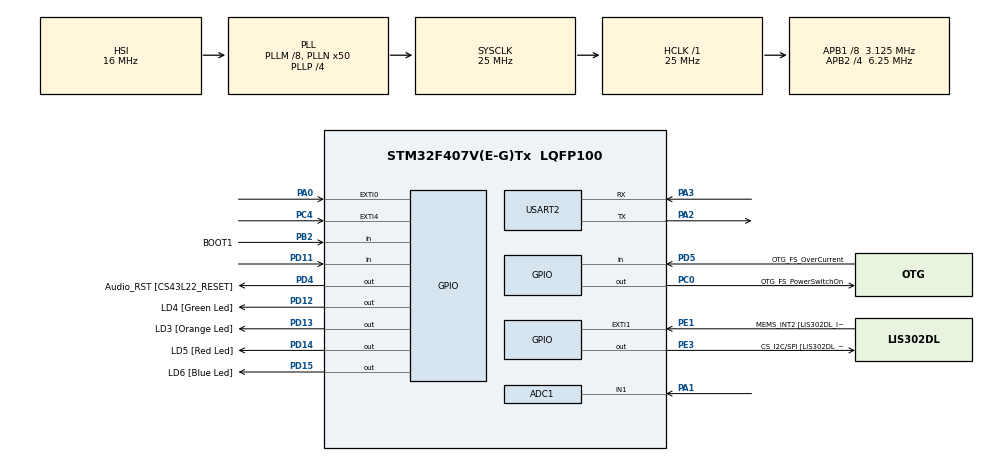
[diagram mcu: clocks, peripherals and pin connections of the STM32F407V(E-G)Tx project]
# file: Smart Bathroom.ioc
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ADC1.Channel-9\#ChannelRegularConversion=ADC_CHANNEL_1
ADC1.NbrOfConversionFlag=1
ADC1.Rank-9\#ChannelRegularConversion=1
ADC1.SamplingTime-9\#ChannelRegularConversion=ADC_SAMPLETIME_3CYCLES
ADC1.master=1
Mcu.Family=STM32F4
Mcu.Name=STM32F407V(E-G)Tx
Mcu.Package=LQFP100
NVIC.EXTI4_IRQn=true\:0\:0\:false\:false\:true\:true
NVIC.PriorityGroup=NVIC_PRIORITYGROUP_4
PA0-WKUP.Signal=GPXTI0
PA1.Signal=ADCx_IN1
PA10.GPIO_Label=OTG_FS_ID
PA10.GPIO_Mode=GPIO_MODE_AF_PP
PA10.GPIO_PuPd=GPIO_NOPULL
PA10.GPIO_Speed=GPIO_SPEED_FREQ_LOW
PA10.Signal=USB_OTG_FS_ID
PA11.GPIO_Label=OTG_FS_DM
PA11.GPIO_Mode=GPIO_MODE_AF_PP
PA11.GPIO_PuPd=GPIO_NOPULL
PA11.GPIO_Speed=GPIO_SPEED_FREQ_LOW
PA11.Signal=USB_OTG_FS_DM
PA12.GPIO_Label=OTG_FS_DP
PA12.GPIO_Mode=GPIO_MODE_AF_PP
PA12.GPIO_PuPd=GPIO_NOPULL
PA12.GPIO_Speed=GPIO_SPEED_FREQ_LOW
PA12.Signal=USB_OTG_FS_DP
PA13.GPIO_Label=SWDIO
PA13.Signal=SYS_JTMS-SWDIO
PA14.GPIO_Label=SWCLK
PA14.Signal=SYS_JTCK-SWCLK
PA2.Mode=Asynchronous
PA2.Signal=USART2_TX
PA3.Mode=Asynchronous
PA3.Signal=USART2_RX
PA6.GPIO_Label=SPI1_MISO [LIS302DL_SDO]
PA6.GPIO_Mode=GPIO_MODE_AF_PP
PA6.GPIO_PuPd=GPIO_NOPULL
PA6.GPIO_Speed=GPIO_SPEED_FREQ_LOW
PA6.Signal=SPI1_MISO
PA7.GPIO_Label=SPI1_MOSI [LIS302DL_SDA/SDI/SDO]
PA7.GPIO_Mode=GPIO_MODE_AF_PP
PA7.GPIO_PuPd=GPIO_NOPULL
PA7.GPIO_Speed=GPIO_SPEED_FREQ_LOW
PA7.Signal=SPI1_MOSI
PA9.GPIO_Label=VBUS_FS
PA9.GPIO_Mode=GPIO_MODE_INPUT
PA9.GPIO_PuPd=GPIO_NOPULL
PA9.Signal=USB_OTG_FS_VBUS
PB10.GPIO_Label=CLK_IN [MP45DT02_CLK]
PB10.GPIO_Mode=GPIO_MODE_AF_PP
PB10.GPIO_PuPd=GPIO_NOPULL
PB10.GPIO_Speed=GPIO_SPEED_FREQ_LOW
PB10.Signal=I2S2_CK
PB2.GPIO_Label=BOOT1
PB2.GPIO_Mode=GPIO_MODE_INPUT
PB2.GPIO_PuPd=GPIO_NOPULL
PB2.Signal=GPIO_Input
PB3.GPIO_Label=SWO
PB3.Signal=SYS_JTDO-SWO
PB6.GPIO_Label=Audio_SCL [CS43L22_SCL]
PB6.GPIO_Mode=GPIO_MODE_AF_OD
PB6.GPIO_PuPd=GPIO_NOPULL
PB6.GPIO_Speed=GPIO_SPEED_FREQ_LOW
PB6.Signal=I2C1_SCL
PB9.GPIO_Label=Audio_SDA [CS43L22_SDA]
PB9.GPIO_Mode=GPIO_MODE_AF_OD
PB9.GPIO_PuPd=GPIO_NOPULL
PB9.GPIO_Speed=GPIO_SPEED_FREQ_LOW
PB9.Signal=I2C1_SDA
PC0.GPIO_Label=OTG_FS_PowerSwitchOn
PC0.GPIO_PuPd=GPIO_NOPULL
PC0.GPIO_Speed=GPIO_SPEED_FREQ_LOW
PC0.PinState=GPIO_PIN_SET
PC0.Signal=GPIO_Output
PC10.GPIO_Label=I2S3_SCK [CS43L22_SCLK]
PC10.GPIO_Mode=GPIO_MODE_AF_PP
PC10.GPIO_PuPd=GPIO_NOPULL
PC10.GPIO_Speed=GPIO_SPEED_FREQ_LOW
PC10.Signal=I2S3_CK
PC12.GPIO_Label=I2S3_SD [CS43L22_SDIN]
PC12.GPIO_Mode=GPIO_MODE_AF_PP
PC12.GPIO_PuPd=GPIO_NOPULL
PC12.GPIO_Speed=GPIO_SPEED_FREQ_LOW
PC12.Signal=I2S3_SD
PC14-OSC32_IN.GPIO_Label=PC14-OSC32_IN
PC14-OSC32_IN.Signal=RCC_OSC32_IN
PC15-OSC32_OUT.GPIO_Label=PC15-OSC32_OUT
PC15-OSC32_OUT.Signal=RCC_OSC32_OUT
PC3.GPIO_Label=PDM_OUT [MP45DT02_DOUT]
PC3.GPIO_Mode=GPIO_MODE_AF_PP
PC3.GPIO_PuPd=GPIO_NOPULL
PC3.GPIO_Speed=GPIO_SPEED_FREQ_LOW
PC3.Signal=I2S2_SD
PC4.Signal=GPXTI4
PC7.GPIO_Label=I2S3_MCK [CS43L22_MCLK]
PC7.GPIO_Mode=GPIO_MODE_AF_PP
PC7.GPIO_PuPd=GPIO_NOPULL
PC7.GPIO_Speed=GPIO_SPEED_FREQ_LOW
PC7.Signal=I2S3_MCK
PD11.Signal=GPIO_Input
PD12.GPIO_Label=LD4 [Green Led]
PD12.GPIO_PuPd=GPIO_NOPULL
PD12.GPIO_Speed=GPIO_SPEED_FREQ_LOW
PD12.Signal=GPIO_Output
PD13.GPIO_Label=LD3 [Orange Led]
PD13.GPIO_PuPd=GPIO_NOPULL
PD13.GPIO_Speed=GPIO_SPEED_FREQ_LOW
PD13.Signal=GPIO_Output
PD14.GPIO_Label=LD5 [Red Led]
PD14.GPIO_PuPd=GPIO_NOPULL
PD14.GPIO_Speed=GPIO_SPEED_FREQ_LOW
PD14.Signal=GPIO_Output
PD15.GPIO_Label=LD6 [Blue Led]
PD15.GPIO_PuPd=GPIO_NOPULL
PD15.GPIO_Speed=GPIO_SPEED_FREQ_LOW
PD15.Signal=GPIO_Output
PD4.GPIO_Label=Audio_RST [CS43L22_RESET]
PD4.GPIO_PuPd=GPIO_NOPULL
PD4.GPIO_Speed=GPIO_SPEED_FREQ_LOW
PD4.Signal=GPIO_Output
PD5.GPIO_Label=OTG_FS_OverCurrent
PD5.GPIO_Mode=GPIO_MODE_INPUT
PD5.GPIO_PuPd=GPIO_NOPULL
PD5.Signal=GPIO_Input
PE1.GPIO_Label=MEMS_INT2 [LIS302DL_INT2]
PE1.GPIO_ModeDefaultEXTI=GPIO_MODE_EVT_RISING
PE1.GPIO_PuPd=GPIO_NOPULL
PE1.Signal=GPXTI1
PE3.GPIO_Label=CS_I2C/SPI [LIS302DL_CS_I2C/SPI]
PE3.GPIO_PuPd=GPIO_NOPULL
PE3.GPIO_Speed=GPIO_SPEED_FREQ_LOW
PE3.Signal=GPIO_Output
PH0-OSC_IN.GPIO_Label=PH0-OSC_IN
PH0-OSC_IN.Signal=RCC_OSC_IN
PH1-OSC_OUT.GPIO_Label=PH1-OSC_OUT
PH1-OSC_OUT.Signal=RCC_OSC_OUT
ProjectManager.HeapSize=0x200
ProjectManager.StackSize=0x400
ProjectManager.TargetToolchain=SW4STM32
RCC.48MHZClocksFreq_Value=14285714.285714285
RCC.AHBFreq_Value=25000000
RCC.APB1CLKDivider=RCC_HCLK_DIV8
RCC.APB1Freq_Value=3125000
RCC.APB1TimFreq_Value=6250000
RCC.APB2CLKDivider=RCC_HCLK_DIV4
RCC.APB2Freq_Value=6250000
RCC.APB2TimFreq_Value=12500000
RCC.CortexFreq_Value=25000000
RCC.HCLKFreq_Value=25000000
RCC.HSE_VALUE=8000000
RCC.HSI_VALUE=16000000
RCC.LSE_VALUE=32768
RCC.PLLM=8
RCC.PLLN=50
RCC.PLLP=RCC_PLLP_DIV4
RCC.PLLQ=7
RCC.SYSCLKFreq_VALUE=25000000
RCC.SYSCLKSource=RCC_SYSCLKSOURCE_PLLCLK
RCC.VCOOutputFreq_Value=100000000
SH.ADCx_IN1.0=ADC1_IN1,IN1
USART2.VirtualMode=VM_ASYNC
VP_TIM10_VS_ClockSourceINT.Mode=Enable_Timer
board=STM32F4DISCOVERY

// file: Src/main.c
/**
  ******************************************************************************
  * File Name          : main.c
  * Description        : Main program body
  ******************************************************************************
  ** This notice applies to any and all portions of this file
  * that are not between comment pairs USER CODE BEGIN and
  * USER CODE END. Other portions of this file, whether
  * inserted by the user or by software development tools
  * are owned by their respective copyright owners.
  *
  * COPYRIGHT(c) 2017 STMicroelectronics
  *
  * Redistribution and use in source and binary forms, with or without modification,
  * are permitted provided that the following conditions are met:
  *   1. Redistributions of source code must retain the above copyright notice,
  *      this list of conditions and the following disclaimer.
  *   2. Redistributions in binary form must reproduce the above copyright notice,
  *      this list of conditions and the following disclaimer in the documentation
  *      and/or other materials provided with the distribution.
  *   3. Neither the name of STMicroelectronics nor the names of its contributors
  *      may be used to endorse or promote products derived from this software
  *      without specific prior written permission.
  *
  * THIS SOFTWARE IS PROVIDED BY THE COPYRIGHT HOLDERS AND CONTRIBUTORS "AS IS"
  * AND ANY EXPRESS OR IMPLIED WARRANTIES, INCLUDING, BUT NOT LIMITED TO, THE
  * IMPLIED WARRANTIES OF MERCHANTABILITY AND FITNESS FOR A PARTICULAR PURPOSE ARE
  * DISCLAIMED. IN NO EVENT SHALL THE COPYRIGHT HOLDER OR CONTRIBUTORS BE LIABLE
  * FOR ANY DIRECT, INDIRECT, INCIDENTAL, SPECIAL, EXEMPLARY, OR CONSEQUENTIAL
  * DAMAGES (INCLUDING, BUT NOT LIMITED TO, PROCUREMENT OF SUBSTITUTE GOODS OR
  * SERVICES; LOSS OF USE, DATA, OR PROFITS; OR BUSINESS INTERRUPTION) HOWEVER
  * CAUSED AND ON ANY THEORY OF LIABILITY, WHETHER IN CONTRACT, STRICT LIABILITY,
  * OR TORT (INCLUDING NEGLIGENCE OR OTHERWISE) ARISING IN ANY WAY OUT OF THE USE
  * OF THIS SOFTWARE, EVEN IF ADVISED OF THE POSSIBILITY OF SUCH DAMAGE.
  *
  ******************************************************************************
  */

#include "main.h"
#include "stm32f4xx_hal.h"

ADC_HandleTypeDef hadc1;

TIM_HandleTypeDef htim10;

UART_HandleTypeDef huart2;

/* USER CODE BEGIN PV */
/* Private variables ---------------------------------------------------------*/

/* USER CODE END PV */

void SystemClock_Config(void);
static void MX_GPIO_Init(void);
static void MX_USART2_UART_Init(void);
static void MX_TIM10_Init(void);
static void MX_ADC1_Init(void);

/* USER CODE BEGIN PFP */
/* Private function prototypes -----------------------------------------------*/

/* USER CODE END PFP */

/* USER CODE BEGIN 0 */
int check = 0;
int prev = 1;
double starttime = 0;
double stoptime = 0;
int distance = -1;

void sendLiquidSensorValue() {
	int a=HAL_GPIO_ReadPin(GPIOD,GPIO_PIN_11);
	char value_buffer[6];
	sprintf(value_buffer, "%d\n\r", a);
	HAL_UART_Transmit(&huart2, value_buffer, strlen(value_buffer), 100);
}

double getTime(){
	return ((double)DWT->CYCCNT) / SystemCoreClock *1000000;
}

void findRange(){
	int now = HAL_GPIO_ReadPin(GPIOD, GPIO_PIN_11);
	if(now != prev){
		if(now == GPIO_PIN_SET){
			starttime = getTime();
		}else{
			distance = (getTime() - starttime);
		}
	}
	prev = now;
}
/* USER CODE END 0 */

int main(void)
{

  /* USER CODE BEGIN 1 */
	char buff;
  /* USER CODE END 1 */

  /* MCU Configuration----------------------------------------------------------*/

  /* Reset of all peripherals, Initializes the Flash interface and the Systick. */
  HAL_Init();

  /* Configure the system clock */
  SystemClock_Config();

  /* Initialize all configured peripherals */
  MX_GPIO_Init();
  MX_USART2_UART_Init();
  MX_TIM10_Init();
  MX_ADC1_Init();

  /* USER CODE BEGIN 2 */
  HAL_TIM_Base_Start_IT(&htim10);
  /* USER CODE END 2 */

  /* Infinite loop */
	while (1) {

  /* USER CODE BEGIN 3 */
		//Start or Stop Motor
		if (HAL_UART_Receive(&huart2, &buff, 1, 1) == HAL_OK) {
			//  HAL_Delay(100);
			HAL_UART_Transmit(&huart2, &buff, 1, 1);
			if (buff == 'f') {
				HAL_GPIO_WritePin(GPIOD, GPIO_PIN_14, 0);
			} else if (buff == 'n') {
				HAL_GPIO_WritePin(GPIOD, GPIO_PIN_14, 1);
			}
		}
		//Send Liquid Sensor Value to UART
		HAL_Delay(1000);
		sendLiquidSensorValue();
	}
  /* USER CODE END 3 */

}

/** System Clock Configuration
*/
void SystemClock_Config(void)
{

  RCC_OscInitTypeDef RCC_OscInitStruct;
  RCC_ClkInitTypeDef RCC_ClkInitStruct;

    /**Configure the main internal regulator output voltage
    */
  __HAL_RCC_PWR_CLK_ENABLE();

  __HAL_PWR_VOLTAGESCALING_CONFIG(PWR_REGULATOR_VOLTAGE_SCALE1);

    /**Initializes the CPU, AHB and APB busses clocks
    */
  RCC_OscInitStruct.OscillatorType = RCC_OSCILLATORTYPE_HSI;
  RCC_OscInitStruct.HSIState = RCC_HSI_ON;
  RCC_OscInitStruct.HSICalibrationValue = 16;
  RCC_OscInitStruct.PLL.PLLState = RCC_PLL_ON;
  RCC_OscInitStruct.PLL.PLLSource = RCC_PLLSOURCE_HSI;
  RCC_OscInitStruct.PLL.PLLM = 8;
  RCC_OscInitStruct.PLL.PLLN = 50;
  RCC_OscInitStruct.PLL.PLLP = RCC_PLLP_DIV4;
  RCC_OscInitStruct.PLL.PLLQ = 7;
  if (HAL_RCC_OscConfig(&RCC_OscInitStruct) != HAL_OK)
  {
    _Error_Handler(__FILE__, __LINE__);
  }

    /**Initializes the CPU, AHB and APB busses clocks
    */
  RCC_ClkInitStruct.ClockType = RCC_CLOCKTYPE_HCLK|RCC_CLOCKTYPE_SYSCLK
                              |RCC_CLOCKTYPE_PCLK1|RCC_CLOCKTYPE_PCLK2;
  RCC_ClkInitStruct.SYSCLKSource = RCC_SYSCLKSOURCE_PLLCLK;
  RCC_ClkInitStruct.AHBCLKDivider = RCC_SYSCLK_DIV1;
  RCC_ClkInitStruct.APB1CLKDivider = RCC_HCLK_DIV8;
  RCC_ClkInitStruct.APB2CLKDivider = RCC_HCLK_DIV4;

  if (HAL_RCC_ClockConfig(&RCC_ClkInitStruct, FLASH_LATENCY_0) != HAL_OK)
  {
    _Error_Handler(__FILE__, __LINE__);
  }

    /**Configure the Systick interrupt time
    */
  HAL_SYSTICK_Config(HAL_RCC_GetHCLKFreq()/1000);

    /**Configure the Systick
    */
  HAL_SYSTICK_CLKSourceConfig(SYSTICK_CLKSOURCE_HCLK);

  /* SysTick_IRQn interrupt configuration */
  HAL_NVIC_SetPriority(SysTick_IRQn, 0, 0);
}

/* ADC1 init function */
static void MX_ADC1_Init(void)
{

  ADC_ChannelConfTypeDef sConfig;

    /**Configure the global features of the ADC (Clock, Resolution, Data Alignment and number of conversion)
    */
  hadc1.Instance = ADC1;
  hadc1.Init.ClockPrescaler = ADC_CLOCK_SYNC_PCLK_DIV2;
  hadc1.Init.Resolution = ADC_RESOLUTION_12B;
  hadc1.Init.ScanConvMode = DISABLE;
  hadc1.Init.ContinuousConvMode = DISABLE;
  hadc1.Init.DiscontinuousConvMode = DISABLE;
  hadc1.Init.ExternalTrigConvEdge = ADC_EXTERNALTRIGCONVEDGE_NONE;
  hadc1.Init.ExternalTrigConv = ADC_SOFTWARE_START;
  hadc1.Init.DataAlign = ADC_DATAALIGN_RIGHT;
  hadc1.Init.NbrOfConversion = 1;
  hadc1.Init.DMAContinuousRequests = DISABLE;
  hadc1.Init.EOCSelection = ADC_EOC_SINGLE_CONV;
  if (HAL_ADC_Init(&hadc1) != HAL_OK)
  {
    _Error_Handler(__FILE__, __LINE__);
  }

    /**Configure for the selected ADC regular channel its corresponding rank in the sequencer and its sample time.
    */
  sConfig.Channel = ADC_CHANNEL_1;
  sConfig.Rank = 1;
  sConfig.SamplingTime = ADC_SAMPLETIME_3CYCLES;
  if (HAL_ADC_ConfigChannel(&hadc1, &sConfig) != HAL_OK)
  {
    _Error_Handler(__FILE__, __LINE__);
  }

}

/* TIM10 init function */
static void MX_TIM10_Init(void)
{

  htim10.Instance = TIM10;
  htim10.Init.Prescaler = 0;
  htim10.Init.CounterMode = TIM_COUNTERMODE_UP;
  htim10.Init.Period = 0;
  htim10.Init.ClockDivision = TIM_CLOCKDIVISION_DIV1;
  if (HAL_TIM_Base_Init(&htim10) != HAL_OK)
  {
    _Error_Handler(__FILE__, __LINE__);
  }

}

/* USART2 init function */
static void MX_USART2_UART_Init(void)
{

  huart2.Instance = USART2;
  huart2.Init.BaudRate = 115200;
  huart2.Init.WordLength = UART_WORDLENGTH_8B;
  huart2.Init.StopBits = UART_STOPBITS_1;
  huart2.Init.Parity = UART_PARITY_NONE;
  huart2.Init.Mode = UART_MODE_TX_RX;
  huart2.Init.HwFlowCtl = UART_HWCONTROL_NONE;
  huart2.Init.OverSampling = UART_OVERSAMPLING_16;
  if (HAL_UART_Init(&huart2) != HAL_OK)
  {
    _Error_Handler(__FILE__, __LINE__);
  }

}

/** Configure pins as
        * Analog
        * Input
        * Output
        * EVENT_OUT
        * EXTI
     PC3   ------> I2S2_SD
     PA6   ------> SPI1_MISO
     PA7   ------> SPI1_MOSI
     PB10   ------> I2S2_CK
     PC7   ------> I2S3_MCK
     PA9   ------> USB_OTG_FS_VBUS
     PA10   ------> USB_OTG_FS_ID
     PA11   ------> USB_OTG_FS_DM
     PA12   ------> USB_OTG_FS_DP
     PC10   ------> I2S3_CK
     PC12   ------> I2S3_SD
     PB6   ------> I2C1_SCL
     PB9   ------> I2C1_SDA
*/
static void MX_GPIO_Init(void)
{

  GPIO_InitTypeDef GPIO_InitStruct;

  /* GPIO Ports Clock Enable */
  __HAL_RCC_GPIOE_CLK_ENABLE();
  __HAL_RCC_GPIOC_CLK_ENABLE();
  __HAL_RCC_GPIOH_CLK_ENABLE();
  __HAL_RCC_GPIOA_CLK_ENABLE();
  __HAL_RCC_GPIOB_CLK_ENABLE();
  __HAL_RCC_GPIOD_CLK_ENABLE();

  /*Configure GPIO pin Output Level */
  HAL_GPIO_WritePin(CS_I2C_SPI_GPIO_Port, CS_I2C_SPI_Pin, GPIO_PIN_RESET);

  /*Configure GPIO pin Output Level */
  HAL_GPIO_WritePin(OTG_FS_PowerSwitchOn_GPIO_Port, OTG_FS_PowerSwitchOn_Pin, GPIO_PIN_SET);

  /*Configure GPIO pin Output Level */
  HAL_GPIO_WritePin(GPIOD, LD4_Pin|LD3_Pin|LD5_Pin|LD6_Pin
                          |Audio_RST_Pin, GPIO_PIN_RESET);

  /*Configure GPIO pin : CS_I2C_SPI_Pin */
  GPIO_InitStruct.Pin = CS_I2C_SPI_Pin;
  GPIO_InitStruct.Mode = GPIO_MODE_OUTPUT_PP;
  GPIO_InitStruct.Pull = GPIO_NOPULL;
  GPIO_InitStruct.Speed = GPIO_SPEED_FREQ_LOW;
  HAL_GPIO_Init(CS_I2C_SPI_GPIO_Port, &GPIO_InitStruct);

  /*Configure GPIO pin : OTG_FS_PowerSwitchOn_Pin */
  GPIO_InitStruct.Pin = OTG_FS_PowerSwitchOn_Pin;
  GPIO_InitStruct.Mode = GPIO_MODE_OUTPUT_PP;
  GPIO_InitStruct.Pull = GPIO_NOPULL;
  GPIO_InitStruct.Speed = GPIO_SPEED_FREQ_LOW;
  HAL_GPIO_Init(OTG_FS_PowerSwitchOn_GPIO_Port, &GPIO_InitStruct);

  /*Configure GPIO pin : PDM_OUT_Pin */
  GPIO_InitStruct.Pin = PDM_OUT_Pin;
  GPIO_InitStruct.Mode = GPIO_MODE_AF_PP;
  GPIO_InitStruct.Pull = GPIO_NOPULL;
  GPIO_InitStruct.Speed = GPIO_SPEED_FREQ_LOW;
  GPIO_InitStruct.Alternate = GPIO_AF5_SPI2;
  HAL_GPIO_Init(PDM_OUT_GPIO_Port, &GPIO_InitStruct);

  /*Configure GPIO pin : PA0 */
  GPIO_InitStruct.Pin = GPIO_PIN_0;
  GPIO_InitStruct.Mode = GPIO_MODE_IT_RISING;
  GPIO_InitStruct.Pull = GPIO_NOPULL;
  HAL_GPIO_Init(GPIOA, &GPIO_InitStruct);

  /*Configure GPIO pins : SPI1_MISO_Pin SPI1_MOSI_Pin */
  GPIO_InitStruct.Pin = SPI1_MISO_Pin|SPI1_MOSI_Pin;
  GPIO_InitStruct.Mode = GPIO_MODE_AF_PP;
  GPIO_InitStruct.Pull = GPIO_NOPULL;
  GPIO_InitStruct.Speed = GPIO_SPEED_FREQ_LOW;
  GPIO_InitStruct.Alternate = GPIO_AF5_SPI1;
  HAL_GPIO_Init(GPIOA, &GPIO_InitStruct);

  /*Configure GPIO pin : PC4 */
  GPIO_InitStruct.Pin = GPIO_PIN_4;
  GPIO_InitStruct.Mode = GPIO_MODE_IT_RISING;
  GPIO_InitStruct.Pull = GPIO_NOPULL;
  HAL_GPIO_Init(GPIOC, &GPIO_InitStruct);

  /*Configure GPIO pin : BOOT1_Pin */
  GPIO_InitStruct.Pin = BOOT1_Pin;
  GPIO_InitStruct.Mode = GPIO_MODE_INPUT;
  GPIO_InitStruct.Pull = GPIO_NOPULL;
  HAL_GPIO_Init(BOOT1_GPIO_Port, &GPIO_InitStruct);

  /*Configure GPIO pin : CLK_IN_Pin */
  GPIO_InitStruct.Pin = CLK_IN_Pin;
  GPIO_InitStruct.Mode = GPIO_MODE_AF_PP;
  GPIO_InitStruct.Pull = GPIO_NOPULL;
  GPIO_InitStruct.Speed = GPIO_SPEED_FREQ_LOW;
  GPIO_InitStruct.Alternate = GPIO_AF5_SPI2;
  HAL_GPIO_Init(CLK_IN_GPIO_Port, &GPIO_InitStruct);

  /*Configure GPIO pins : PD11 OTG_FS_OverCurrent_Pin */
  GPIO_InitStruct.Pin = GPIO_PIN_11|OTG_FS_OverCurrent_Pin;
  GPIO_InitStruct.Mode = GPIO_MODE_INPUT;
  GPIO_InitStruct.Pull = GPIO_NOPULL;
  HAL_GPIO_Init(GPIOD, &GPIO_InitStruct);

  /*Configure GPIO pins : LD4_Pin LD3_Pin LD5_Pin LD6_Pin
                           Audio_RST_Pin */
  GPIO_InitStruct.Pin = LD4_Pin|LD3_Pin|LD5_Pin|LD6_Pin
                          |Audio_RST_Pin;
  GPIO_InitStruct.Mode = GPIO_MODE_OUTPUT_PP;
  GPIO_InitStruct.Pull = GPIO_NOPULL;
  GPIO_InitStruct.Speed = GPIO_SPEED_FREQ_LOW;
  HAL_GPIO_Init(GPIOD, &GPIO_InitStruct);

  /*Configure GPIO pins : I2S3_MCK_Pin I2S3_SCK_Pin I2S3_SD_Pin */
  GPIO_InitStruct.Pin = I2S3_MCK_Pin|I2S3_SCK_Pin|I2S3_SD_Pin;
  GPIO_InitStruct.Mode = GPIO_MODE_AF_PP;
  GPIO_InitStruct.Pull = GPIO_NOPULL;
  GPIO_InitStruct.Speed = GPIO_SPEED_FREQ_LOW;
  GPIO_InitStruct.Alternate = GPIO_AF6_SPI3;
  HAL_GPIO_Init(GPIOC, &GPIO_InitStruct);

  /*Configure GPIO pin : VBUS_FS_Pin */
  GPIO_InitStruct.Pin = VBUS_FS_Pin;
  GPIO_InitStruct.Mode = GPIO_MODE_INPUT;
  GPIO_InitStruct.Pull = GPIO_NOPULL;
  HAL_GPIO_Init(VBUS_FS_GPIO_Port, &GPIO_InitStruct);

  /*Configure GPIO pins : OTG_FS_ID_Pin OTG_FS_DM_Pin OTG_FS_DP_Pin */
  GPIO_InitStruct.Pin = OTG_FS_ID_Pin|OTG_FS_DM_Pin|OTG_FS_DP_Pin;
  GPIO_InitStruct.Mode = GPIO_MODE_AF_PP;
  GPIO_InitStruct.Pull = GPIO_NOPULL;
  GPIO_InitStruct.Speed = GPIO_SPEED_FREQ_LOW;
  GPIO_InitStruct.Alternate = GPIO_AF10_OTG_FS;
  HAL_GPIO_Init(GPIOA, &GPIO_InitStruct);

  /*Configure GPIO pins : Audio_SCL_Pin Audio_SDA_Pin */
  GPIO_InitStruct.Pin = Audio_SCL_Pin|Audio_SDA_Pin;
  GPIO_InitStruct.Mode = GPIO_MODE_AF_OD;
  GPIO_InitStruct.Pull = GPIO_PULLUP;
  GPIO_InitStruct.Speed = GPIO_SPEED_FREQ_LOW;
  GPIO_InitStruct.Alternate = GPIO_AF4_I2C1;
  HAL_GPIO_Init(GPIOB, &GPIO_InitStruct);

  /*Configure GPIO pin : MEMS_INT2_Pin */
  GPIO_InitStruct.Pin = MEMS_INT2_Pin;
  GPIO_InitStruct.Mode = GPIO_MODE_EVT_RISING;
  GPIO_InitStruct.Pull = GPIO_NOPULL;
  HAL_GPIO_Init(MEMS_INT2_GPIO_Port, &GPIO_InitStruct);

  /* EXTI interrupt init*/
  HAL_NVIC_SetPriority(EXTI4_IRQn, 0, 0);
  HAL_NVIC_EnableIRQ(EXTI4_IRQn);

}

void _Error_Handler(char * file, int line)
{
	while (1) {
	}
}

/************************ (C) COPYRIGHT STMicroelectronics *****END OF FILE****/
